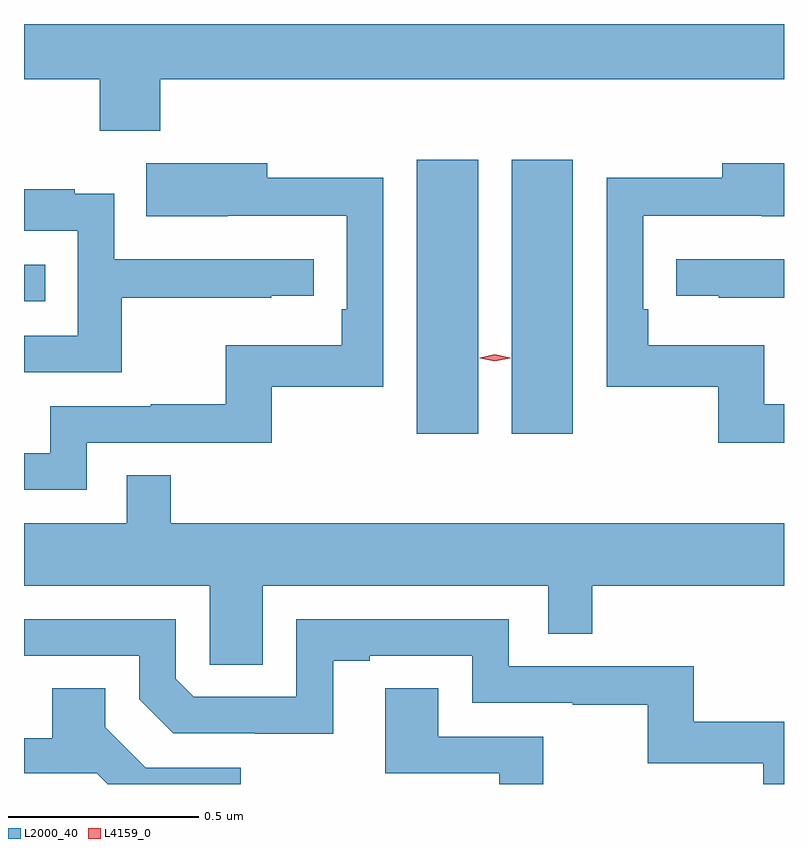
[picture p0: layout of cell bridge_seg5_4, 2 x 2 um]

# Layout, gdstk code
import gdstk
lib = gdstk.Library(unit=1e-6, precision=1e-09)
def R(c, l, rs):  # rectangles x0, y0, x1, y1
    for r in rs: c.add(gdstk.rectangle(r[:2], r[2:], *l))
def P(c, l, *ps):  # polygons
    for p in ps: c.add(gdstk.Polygon(p, *l))
L2000_40 = (2000, 40)
L4159_0 = (4159, 0)

bridge_seg5_4 = lib.new_cell('bridge_seg5_4')
R(bridge_seg5_4, L2000_40, [(925.235,901.116,925.396,901.837), (925.484,901.116,925.645,901.837), (924.201,901.464,924.257,901.56)])
P(bridge_seg5_4, L2000_40, [(924.56,902.048),(926.201,902.048),(926.201,902.194),(924.201,902.194),(924.201,902.048),(924.4,902.048),(924.4,901.913),(924.56,901.913)],
  [(926.201,901.193),(926.149,901.193),(926.149,901.348),(925.844,901.348),(925.844,901.444),(925.83,901.444),(925.83,901.689),(926.143,901.689),(926.143,901.688),(926.201,901.688),(926.201,901.828),(926.039,901.828),(926.039,901.79),(925.734,901.79),(925.734,901.239),(926.028,901.239),(926.028,901.092),(926.201,901.092)],
  [(924.366,901.092),(924.853,901.092),(924.853,901.239),(925.146,901.239),(925.146,901.79),(924.841,901.79),(924.841,901.828),(924.523,901.828),(924.523,901.688),(924.737,901.688),(924.737,901.689),(925.05,901.689),(925.05,901.444),(925.037,901.444),(925.037,901.348),(924.732,901.348),(924.732,901.193),(924.535,901.193),(924.535,901.188),(924.27,901.188),(924.27,901.065),(924.201,901.065),(924.201,900.969),(924.366,900.969)],
  [(924.458,901.474),(924.851,901.474),(924.851,901.479),(924.964,901.479),(924.964,901.575),(924.438,901.575),(924.438,901.747),(924.335,901.747),(924.335,901.759),(924.201,901.759),(924.201,901.65),(924.342,901.65),(924.342,901.374),(924.201,901.374),(924.201,901.278),(924.458,901.278)],
  [(926.201,901.575),(925.917,901.575),(925.917,901.479),(926.029,901.479),(926.029,901.474),(926.201,901.474)],
  [(924.829,900.716),(925.581,900.716),(925.581,900.589),(925.697,900.589),(925.697,900.716),(926.201,900.716),(926.201,900.88),(924.587,900.88),(924.587,901.007),(924.471,901.007),(924.471,900.88),(924.201,900.88),(924.201,900.716),(924.69,900.716),(924.69,900.508),(924.829,900.508)],
  [(926.201,900.358),(925.963,900.358),(925.963,900.504),(925.476,900.504),(925.476,900.627),(924.918,900.627),(924.918,900.423),(924.648,900.423),(924.6,900.471),(924.6,900.627),(924.201,900.627),(924.201,900.531),(924.504,900.531),(924.504,900.417),(924.594,900.327),(924.81,900.327),(924.81,900.326),(925.015,900.326),(925.015,900.519),(925.111,900.519),(925.111,900.531),(925.38,900.531),(925.38,900.408),(925.645,900.408),(925.645,900.403),(925.842,900.403),(925.842,900.248),(926.147,900.248),(926.147,900.194),(926.201,900.194)],
  [(925.568,900.318),(925.291,900.318),(925.291,900.446),(925.151,900.446),(925.151,900.222),(925.452,900.222),(925.452,900.194),(925.568,900.194)],
  [(924.772,900.237),(924.522,900.237),(924.415,900.344),(924.415,900.446),(924.275,900.446),(924.275,900.314),(924.201,900.314),(924.201,900.222),(924.393,900.222),(924.421,900.194),(924.772,900.194)])
P(bridge_seg5_4, L4159_0, [(925.44,901.306),(925.4,901.315),(925.4,901.315),(925.4,901.316),(925.44,901.325),(925.48,901.316),(925.48,901.315),(925.48,901.315)])

lib.write_gds('bridge_seg5_4.gds')
